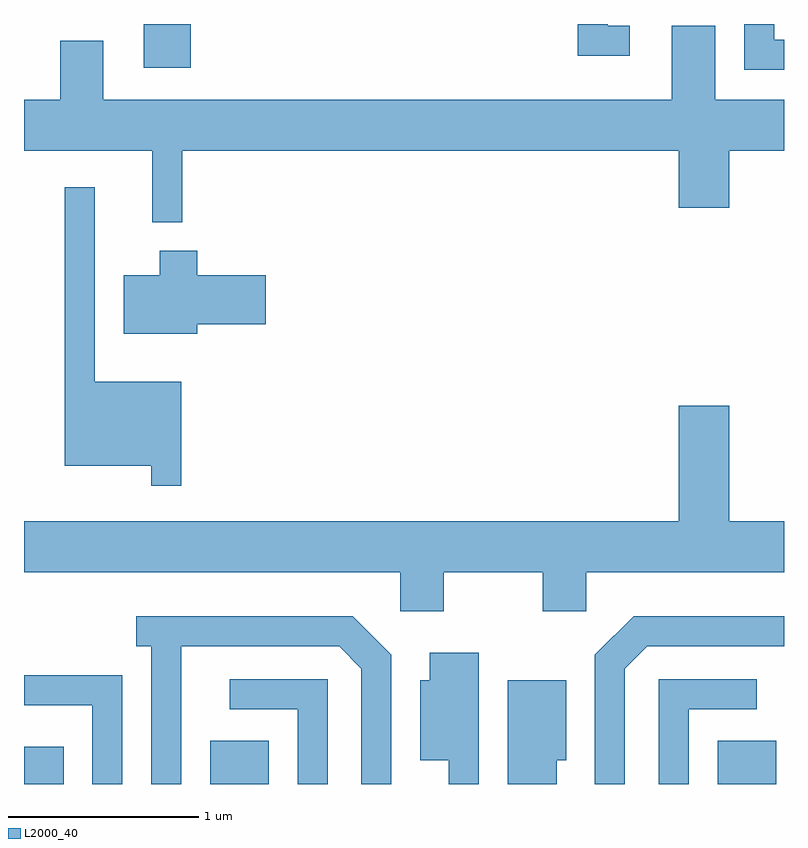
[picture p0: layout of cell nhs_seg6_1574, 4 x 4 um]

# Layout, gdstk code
import gdstk
lib = gdstk.Library(unit=1e-6, precision=1e-09)
def R(c, l, rs):  # rectangles x0, y0, x1, y1
    for r in rs: c.add(gdstk.rectangle(r[:2], r[2:], *l))
def P(c, l, *ps):  # polygons
    for p in ps: c.add(gdstk.Polygon(p, *l))
L2000_40 = (2000, 40)

nhs_seg6_1574 = lib.new_cell('nhs_seg6_1574')
R(nhs_seg6_1574, L2000_40, [(231.611,1642.162,231.819,1642.359), (232.591,1642.162,232.899,1642.389), (235.261,1642.162,235.569,1642.389), (232.241,1645.931,232.489,1646.162)])
P(nhs_seg6_1574, L2000_40, [(234.798,1646.154),(234.684,1646.154),(234.684,1646.162),(234.526,1646.162),(234.526,1645.996),(234.798,1645.996)],
  [(235.611,1646.079),(235.559,1646.079),(235.559,1646.162),(235.401,1646.162),(235.401,1645.921),(235.611,1645.921)],
  [(232.444,1645.496),(235.056,1645.496),(235.056,1645.196),(235.324,1645.196),(235.324,1645.496),(235.611,1645.496),(235.611,1645.764),(235.249,1645.764),(235.249,1646.154),(235.021,1646.154),(235.021,1645.764),(232.029,1645.764),(232.029,1646.074),(231.801,1646.074),(231.801,1645.764),(231.611,1645.764),(231.611,1645.496),(232.286,1645.496),(232.286,1645.118),(232.444,1645.118)],
  [(232.439,1644.279),(231.984,1644.279),(231.984,1645.303),(231.826,1645.303),(231.826,1643.836),(232.281,1643.836),(232.281,1643.733),(232.439,1643.733)],
  [(232.524,1644.581),(232.884,1644.581),(232.884,1644.839),(232.524,1644.839),(232.524,1644.969),(232.326,1644.969),(232.326,1644.839),(232.136,1644.839),(232.136,1644.531),(232.524,1644.531)],
  [(231.611,1643.276),(233.591,1643.276),(233.591,1643.071),(233.819,1643.071),(233.819,1643.276),(234.341,1643.276),(234.341,1643.071),(234.569,1643.071),(234.569,1643.276),(235.611,1643.276),(235.611,1643.544),(235.324,1643.544),(235.324,1644.154),(235.056,1644.154),(235.056,1643.544),(231.611,1643.544)],
  [(232.439,1642.886),(233.269,1642.886),(233.386,1642.769),(233.386,1642.162),(233.544,1642.162),(233.544,1642.842),(233.342,1643.044),(232.203,1643.044),(232.203,1642.886),(232.281,1642.886),(232.281,1642.162),(232.439,1642.162)],
  [(234.774,1642.769),(234.892,1642.886),(235.611,1642.886),(235.611,1643.044),(234.819,1643.044),(234.616,1642.842),(234.616,1642.162),(234.774,1642.162)],
  [(234.004,1642.854),(233.746,1642.854),(233.746,1642.709),(233.696,1642.709),(233.696,1642.286),(233.846,1642.286),(233.846,1642.162),(234.004,1642.162)],
  [(232.129,1642.734),(231.611,1642.734),(231.611,1642.576),(231.971,1642.576),(231.971,1642.162),(232.129,1642.162)],
  [(233.209,1642.714),(232.693,1642.714),(232.693,1642.556),(233.051,1642.556),(233.051,1642.162),(233.209,1642.162)],
  [(235.109,1642.556),(235.468,1642.556),(235.468,1642.714),(234.951,1642.714),(234.951,1642.162),(235.109,1642.162)],
  [(234.414,1642.286),(234.464,1642.286),(234.464,1642.709),(234.156,1642.709),(234.156,1642.162),(234.414,1642.162)])

lib.write_gds('nhs_seg6_1574.gds')
